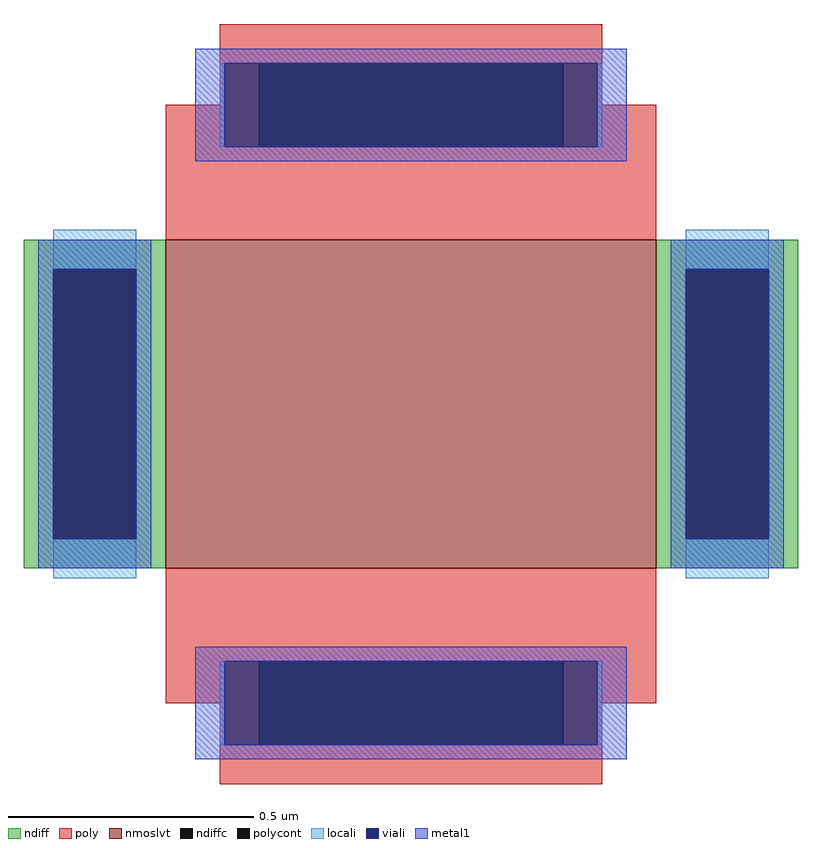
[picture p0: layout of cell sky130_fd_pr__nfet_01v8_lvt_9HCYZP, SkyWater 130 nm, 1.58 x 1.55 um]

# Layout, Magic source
magic
tech sky130A
magscale 1 2
<< nmoslvt >>
rect -100 -67 100 67
<< ndiff >>
rect -158 55 -100 67
rect -158 -55 -146 55
rect -112 -55 -100 55
rect -158 -67 -100 -55
rect 100 55 158 67
rect 100 -55 112 55
rect 146 -55 158 55
rect 100 -67 158 -55
<< ndiffc >>
rect -146 -55 -112 55
rect 112 -55 146 55
<< poly >>
rect -78 139 78 155
rect -78 122 -62 139
rect -100 105 -62 122
rect 62 122 78 139
rect 62 105 100 122
rect -100 67 100 105
rect -100 -105 100 -67
rect -100 -122 -62 -105
rect -78 -139 -62 -122
rect 62 -122 100 -105
rect 62 -139 78 -122
rect -78 -155 78 -139
<< polycont >>
rect -62 105 62 139
rect -62 -139 62 -105
<< locali >>
rect -78 105 -76 139
rect 76 105 78 139
rect -146 55 -112 71
rect -146 -71 -112 -55
rect 112 55 146 71
rect 112 -71 146 -55
rect -78 -139 -76 -105
rect 76 -139 78 -105
<< viali >>
rect -76 105 -62 139
rect -62 105 62 139
rect 62 105 76 139
rect -146 -55 -112 55
rect 112 -55 146 55
rect -76 -139 -62 -105
rect -62 -139 62 -105
rect 62 -139 76 -105
<< metal1 >>
rect -88 139 88 145
rect -88 105 -76 139
rect 76 105 88 139
rect -88 99 88 105
rect -152 55 -106 67
rect -152 -55 -146 55
rect -112 -55 -106 55
rect -152 -67 -106 -55
rect 106 55 152 67
rect 106 -55 112 55
rect 146 -55 152 55
rect 106 -67 152 -55
rect -88 -105 88 -99
rect -88 -139 -76 -105
rect 76 -139 88 -105
rect -88 -145 88 -139
<< properties >>
string gencell sky130_fd_pr__nfet_01v8_lvt
string library sky130
string parameters w 0.67 l 1.0 m 1 nf 1 diffcov 100 polycov 74 guard 0 glc 1 grc 1 gtc 1 gbc 1 tbcov 100 rlcov 100 topc 1 botc 1 poverlap 0 doverlap 1 lmin 0.15 wmin 0.42 class mosfet compatible {sky130_fd_pr__nfet_01v8 sky130_fd_pr__nfet_01v8_lvt  sky130_fd_bs_flash__special_sonosfet_star  sky130_fd_pr__nfet_g5v0d10v5 sky130_fd_pr__nfet_05v0_nvt  sky130_fd_pr__nfet_03v3_nvt} full_metal 1 viasrc 100 viadrn 100 viagate 90 viagb 0 viagr 0 viagl 0 viagt 0
<< end >>
